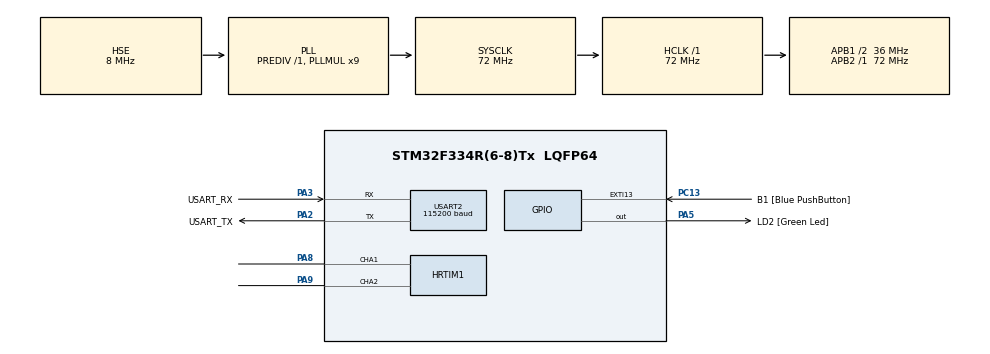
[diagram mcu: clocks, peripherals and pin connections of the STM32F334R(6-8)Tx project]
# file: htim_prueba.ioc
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Dma.Request0=USART2_RX
Dma.USART2_RX.0.Direction=DMA_PERIPH_TO_MEMORY
Dma.USART2_RX.0.Instance=DMA1_Channel6
Dma.USART2_RX.0.MemDataAlignment=DMA_MDATAALIGN_BYTE
Dma.USART2_RX.0.MemInc=DMA_MINC_ENABLE
Dma.USART2_RX.0.Mode=DMA_NORMAL
Dma.USART2_RX.0.PeriphDataAlignment=DMA_PDATAALIGN_BYTE
Dma.USART2_RX.0.PeriphInc=DMA_PINC_DISABLE
Dma.USART2_RX.0.Priority=DMA_PRIORITY_LOW
HRTIM1.CompareUnit1-Output_TA1TA2=HRTIM_COMPAREUNIT_1
HRTIM1.CompareUnit2-Output_TA1TA2=__NULL
HRTIM1.CompareValue1-Output_TA1TA2=0x1FDF
HRTIM1.CompareValue2-Output_TA1TA2=0x2FDF
HRTIM1.Configuration_TA=Waveform
HRTIM1.DeadTimeInsertion-Output_TA1TA2=HRTIM_TIMDEADTIMEINSERTION_ENABLED
HRTIM1.FallingSign-Output_TA1TA2=HRTIM_TIMDEADTIME_FALLINGSIGN_POSITIVE
HRTIM1.FallingValue-Output_TA1TA2=0x063
HRTIM1.IdleLevel2-Output_TA1TA2=HRTIM_OUTPUTIDLELEVEL_INACTIVE
HRTIM1.NumberResetSource1-Output_TA1TA2=1
HRTIM1.NumberSetSource1-Output_TA1TA2=1
HRTIM1.OCChannel_TA1=__NULL
HRTIM1.OCChannel_TA2=__NULL
HRTIM1.PWMChannel_TA1=HRTIM_OUTPUT_TA1
HRTIM1.PWMChannel_TA2=HRTIM_OUTPUT_TA2
HRTIM1.PWMPulse_TA1=0x1FDF
HRTIM1.PWMPulse_TA2=0x1FDF
HRTIM1.Periode_TA=0xFFDF
HRTIM1.PrescalerDead-Output_TA1TA2=HRTIM_TIMDEADTIME_PRESCALERRATIO_DIV1
HRTIM1.ResetOutput1_Source1-Output_TA1TA2=HRTIM_OUTPUTRESET_TIMCMP1
HRTIM1.RisingSign-Output_TA1TA2=HRTIM_TIMDEADTIME_RISINGSIGN_POSITIVE
HRTIM1.RisingValue-Output_TA1TA2=0x063
HRTIM1.SetOutput1_Source1-Output_TA1TA2=HRTIM_OUTPUTSET_TIMPER
Mcu.Family=STM32F3
Mcu.Name=STM32F334R(6-8)Tx
Mcu.Package=LQFP64
NVIC.DMA1_Channel6_IRQn=true\:0\:0\:false\:false\:true\:false\:true
NVIC.HRTIM1_TIMA_IRQn=true\:0\:0\:false\:false\:true\:true\:true
NVIC.PriorityGroup=NVIC_PRIORITYGROUP_0
NVIC.USART2_IRQn=true\:0\:0\:false\:false\:true\:true\:true
PA13.GPIO_Label=TMS
PA13.Mode=Serial_Wire
PA13.Signal=SYS_JTMS-SWDIO
PA14.GPIO_Label=TCK
PA14.Mode=Serial_Wire
PA14.Signal=SYS_JTCK-SWCLK
PA2.GPIO_Label=USART_TX
PA2.Mode=Asynchronous
PA2.Signal=USART2_TX
PA3.GPIO_Label=USART_RX
PA3.Mode=Asynchronous
PA3.Signal=USART2_RX
PA5.GPIO_Label=LD2 [Green Led]
PA5.Signal=GPIO_Output
PA8.Mode=Output_TA1TA2
PA8.Signal=HRTIM1_CHA1
PA9.Mode=Output_TA1TA2
PA9.Signal=HRTIM1_CHA2
PB3.GPIO_Label=SWO
PB3.Signal=SYS_JTDO-TRACESWO
PC13.GPIO_Label=B1 [Blue PushButton]
PC13.GPIO_ModeDefaultEXTI=GPIO_MODE_IT_FALLING
PC13.Signal=GPXTI13
PC14\ /\ OSC32_IN.Mode=LSE-External-Oscillator
PC14\ /\ OSC32_IN.Signal=RCC_OSC32_IN
PC15\ /\ OSC32_OUT.GPIO_Label=RCC_OSC32_OUT
PC15\ /\ OSC32_OUT.Mode=LSE-External-Oscillator
PC15\ /\ OSC32_OUT.Signal=RCC_OSC32_OUT
PF0\ /\ OSC_IN.Mode=HSE-External-Clock-Source
PF0\ /\ OSC_IN.Signal=RCC_OSC_IN
PF1\ /\ OSC_OUT.Signal=RCC_OSC_OUT
ProjectManager.HeapSize=0x200
ProjectManager.StackSize=0x400
ProjectManager.TargetToolchain=MDK-ARM V5
RCC.AHBFreq_Value=72000000
RCC.APB1CLKDivider=RCC_HCLK_DIV2
RCC.APB1Freq_Value=36000000
RCC.APB1TimFreq_Value=72000000
RCC.APB2Freq_Value=72000000
RCC.APB2TimFreq_Value=72000000
RCC.CortexFreq_Value=72000000
RCC.FLatency-AdvancedSettings=FLASH_LATENCY_2
RCC.HCLKFreq_Value=72000000
RCC.HRTIMSelection=RCC_HRTIM1CLK_PLLCLK
RCC.HSE_VALUE=8000000
RCC.HSI_VALUE=8000000
RCC.PLLMUL=RCC_PLL_MUL9
RCC.PLLSourceVirtual=RCC_PLLSOURCE_HSE
RCC.SYSCLKFreq_VALUE=72000000
RCC.SYSCLKSourceVirtual=RCC_SYSCLKSOURCE_PLLCLK
USART2.BaudRate=115200
USART2.VirtualMode-Asynchronous=VM_ASYNC
board=NUCLEO-F334R8

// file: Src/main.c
/* USER CODE BEGIN Header */
/**
  ******************************************************************************
  * @file           : main.c
  * @brief          : Main program body
  ******************************************************************************
  * @attention
  *
  * <h2><center>&copy; Copyright (c) 2019 STMicroelectronics.
  * All rights reserved.</center></h2>
  *
  * This software component is licensed by ST under BSD 3-Clause license,
  * the "License"; You may not use this file except in compliance with the
  * License. You may obtain a copy of the License at:
  *                        opensource.org/licenses/BSD-3-Clause
  *
  ******************************************************************************
  */
/* USER CODE END Header */

#include "main.h"
#include "dma.h"
#include "hrtim.h"
#include "usart.h"
#include "gpio.h"

/* USER CODE BEGIN Includes */
#include <stdio.h>
#include <stdlib.h>
#include <string.h>
/* USER CODE END Includes */

/* USER CODE BEGIN PV */
extern HRTIM_HandleTypeDef hhrtim1;
extern UART_HandleTypeDef huart2;
// definimos las variables a usar
uint8_t recepcionCompleta; // valdrá 1 cuando termina de recivir la cantidad de caracteres pedidos y 0 en otro caso. Es para saber cuando se termina una recepcón.
uint8_t reciveBuffer[64]; // string de caracteres recibidos, será un puntero al usarlo en el Hal receive_DMA. La primrer posición de memoria será la coordenada ("x" o "y") y la segunda es la posición.
double  numeroRecivido = 0; //el valor de posición, y se obtiene de la posición reciveBuffer + 1
/* USER CODE END PV */

void SystemClock_Config(void);

int main(void)
{
  /* USER CODE BEGIN 1 */
	uint8_t txStr[9] = "Recivido\n"; //variable para transmitir y saber cuando funciona la comunicación
	uint16_t pwmValor = 0; // valor de la pwm a usar como input (ancho), se usa el valor de numeroRecivido

  /* USER CODE END 1 */

  /* MCU Configuration--------------------------------------------------------*/

  /* Reset of all peripherals, Initializes the Flash interface and the Systick. */
  HAL_Init();

  /* Configure the system clock */
  SystemClock_Config();

  /* Initialize all configured peripherals */
  MX_GPIO_Init();
  MX_DMA_Init();
  MX_USART2_UART_Init();
  MX_HRTIM1_Init();
  /* USER CODE BEGIN 2 */
  HAL_HRTIM_SimplePWMStart_IT(&hhrtim1, HRTIM_TIMERINDEX_TIMER_A, HRTIM_OUTPUT_TA1);
  HAL_HRTIM_SimplePWMStart_IT(&hhrtim1, HRTIM_TIMERINDEX_TIMER_A, HRTIM_OUTPUT_TA2);
  /* USER CODE END 2 */
	// primero se abre la comunicación antes de entrar al while, allí una vez que se recivió y se seteó la pwm,
  //se vuelve a abrir el receive para que constantemente se pueda mandar datos.
  HAL_UART_Receive_DMA(&huart2 , reciveBuffer , 7);
  /* Infinite loop */
  /* USER CODE BEGIN WHILE */
  while (1)
  {
//	Cuando hay recepción, abajo (línea 194) se setea una interrupción para poner el valor de recepcionCompleta en 1.
//	Entonces se activa el if de abajo.
    /* USER CODE END WHILE */
	  if(recepcionCompleta)
			{
//	Si el input tiene una x en el primer caracter, entonces el resto serán los valores del pwm, con la función atof se pasa dicho valor de char a int
				if(reciveBuffer[0] == 'X' || reciveBuffer[0] == 'x')
					{
						numeroRecivido = atof( (const char *) (reciveBuffer + 1) );
						if(numeroRecivido >= 0 &&  numeroRecivido < 0xFFDF)
						{
							pwmValor = (uint16_t) numeroRecivido;
							__HAL_HRTIM_SETCOMPARE(&hhrtim1, HRTIM_TIMERINDEX_TIMER_A, HRTIM_COMPAREUNIT_1, pwmValor);
						}
// el valor tiene que sewr >= 0 y < que 0xFFDF para que funcione la pwm, sino no se setea.
				  }
		  memset((void *) reciveBuffer, 0 , 7);
		  HAL_UART_Transmit(&huart2, txStr, 9, 1000);
		  recepcionCompleta = 0;
		  HAL_GPIO_TogglePin(GPIOA, GPIO_PIN_5);
		  HAL_UART_Receive_DMA(&huart2 , reciveBuffer , 7);
	   }
  }
}

void SystemClock_Config(void)
{
  RCC_OscInitTypeDef RCC_OscInitStruct = {0};
  RCC_ClkInitTypeDef RCC_ClkInitStruct = {0};
  RCC_PeriphCLKInitTypeDef PeriphClkInit = {0};

  /** Initializes the CPU, AHB and APB busses clocks
  */
  RCC_OscInitStruct.OscillatorType = RCC_OSCILLATORTYPE_HSE;
  RCC_OscInitStruct.HSEState = RCC_HSE_BYPASS;
  RCC_OscInitStruct.HSEPredivValue = RCC_HSE_PREDIV_DIV1;
  RCC_OscInitStruct.HSIState = RCC_HSI_ON;
  RCC_OscInitStruct.PLL.PLLState = RCC_PLL_ON;
  RCC_OscInitStruct.PLL.PLLSource = RCC_PLLSOURCE_HSE;
  RCC_OscInitStruct.PLL.PLLMUL = RCC_PLL_MUL9;
  if (HAL_RCC_OscConfig(&RCC_OscInitStruct) != HAL_OK)
  {
    Error_Handler();
  }
  /** Initializes the CPU, AHB and APB busses clocks
  */
  RCC_ClkInitStruct.ClockType = RCC_CLOCKTYPE_HCLK|RCC_CLOCKTYPE_SYSCLK
                              |RCC_CLOCKTYPE_PCLK1|RCC_CLOCKTYPE_PCLK2;
  RCC_ClkInitStruct.SYSCLKSource = RCC_SYSCLKSOURCE_PLLCLK;
  RCC_ClkInitStruct.AHBCLKDivider = RCC_SYSCLK_DIV1;
  RCC_ClkInitStruct.APB1CLKDivider = RCC_HCLK_DIV2;
  RCC_ClkInitStruct.APB2CLKDivider = RCC_HCLK_DIV1;

  if (HAL_RCC_ClockConfig(&RCC_ClkInitStruct, FLASH_LATENCY_2) != HAL_OK)
  {
    Error_Handler();
  }
  PeriphClkInit.PeriphClockSelection = RCC_PERIPHCLK_HRTIM1;
  PeriphClkInit.Hrtim1ClockSelection = RCC_HRTIM1CLK_PLLCLK;
  if (HAL_RCCEx_PeriphCLKConfig(&PeriphClkInit) != HAL_OK)
  {
    Error_Handler();
  }
}

/* USER CODE BEGIN 4 */

// interrupcion del timer de alta resolucion
void HAL_HRTIM_Compare1EventCallback(HRTIM_HandleTypeDef * hhrtim,
                                              uint32_t TimerIdx)
{

}
// interrupcion del receive del Huart
void HAL_UART_RxCpltCallback(UART_HandleTypeDef *huart){
	recepcionCompleta = 1;
}
/* USER CODE END 4 */

void Error_Handler(void)
{
}

/************************ (C) COPYRIGHT STMicroelectronics *****END OF FILE****/
